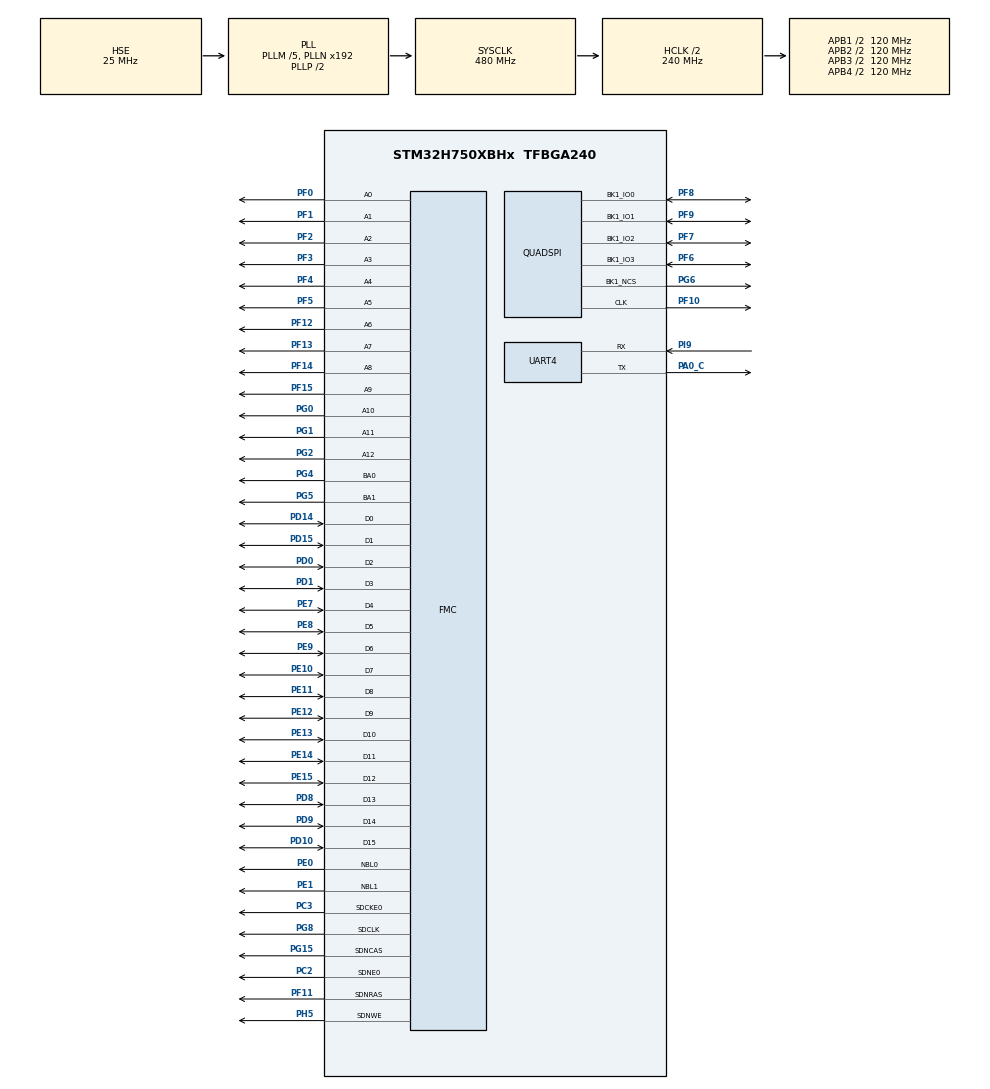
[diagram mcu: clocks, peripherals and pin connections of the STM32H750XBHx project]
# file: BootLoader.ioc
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CORTEX_M7.AccessPermission_S-Cortex_Memory_Protection_Unit_Region1_Settings_S=MPU_REGION_FULL_ACCESS
CORTEX_M7.AccessPermission_S-Cortex_Memory_Protection_Unit_Region2_Settings_S=MPU_REGION_FULL_ACCESS
CORTEX_M7.AccessPermission_S-Cortex_Memory_Protection_Unit_Region3_Settings_S=MPU_REGION_FULL_ACCESS
CORTEX_M7.AccessPermission_S-Cortex_Memory_Protection_Unit_Region4_Settings_S=MPU_REGION_FULL_ACCESS
CORTEX_M7.AccessPermission_S-Cortex_Memory_Protection_Unit_Region5_Settings_S=MPU_REGION_FULL_ACCESS
CORTEX_M7.AccessPermission_S-Cortex_Memory_Protection_Unit_Region6_Settings_S=MPU_REGION_FULL_ACCESS
CORTEX_M7.AccessPermission_S-Cortex_Memory_Protection_Unit_Region7_Settings_S=MPU_REGION_FULL_ACCESS
CORTEX_M7.AccessPermission_Spec=MPU_REGION_FULL_ACCESS
CORTEX_M7.BaseAddress_S-Cortex_Memory_Protection_Unit_Region1_Settings_S=0x24000000
CORTEX_M7.BaseAddress_S-Cortex_Memory_Protection_Unit_Region2_Settings_S=0xC0000000
CORTEX_M7.BaseAddress_S-Cortex_Memory_Protection_Unit_Region3_Settings_S=0x30000000
CORTEX_M7.BaseAddress_S-Cortex_Memory_Protection_Unit_Region4_Settings_S=0x30040000
CORTEX_M7.BaseAddress_S-Cortex_Memory_Protection_Unit_Region5_Settings_S=0x38000000
CORTEX_M7.BaseAddress_S-Cortex_Memory_Protection_Unit_Region6_Settings_S=0x38800000
CORTEX_M7.BaseAddress_S-Cortex_Memory_Protection_Unit_Region7_Settings_S=0x60000000
CORTEX_M7.BaseAddress_Spec=0x90000000
CORTEX_M7.CPU_DCache=Enabled
CORTEX_M7.CPU_ICache=Enabled
CORTEX_M7.DisableExec_Spec=MPU_INSTRUCTION_ACCESS_ENABLE
CORTEX_M7.Enable_S-Cortex_Memory_Protection_Unit_Region1_Settings_S=MPU_REGION_ENABLE
CORTEX_M7.Enable_S-Cortex_Memory_Protection_Unit_Region2_Settings_S=MPU_REGION_ENABLE
CORTEX_M7.Enable_S-Cortex_Memory_Protection_Unit_Region3_Settings_S=MPU_REGION_ENABLE
CORTEX_M7.Enable_S-Cortex_Memory_Protection_Unit_Region4_Settings_S=MPU_REGION_ENABLE
CORTEX_M7.Enable_S-Cortex_Memory_Protection_Unit_Region5_Settings_S=MPU_REGION_ENABLE
CORTEX_M7.Enable_S-Cortex_Memory_Protection_Unit_Region6_Settings_S=MPU_REGION_ENABLE
CORTEX_M7.Enable_S-Cortex_Memory_Protection_Unit_Region7_Settings_S=MPU_REGION_ENABLE
CORTEX_M7.Enable_S-Cortex_Memory_Protection_Unit_Region8_Settings_S=__NULL
CORTEX_M7.IsBufferable_S-Cortex_Memory_Protection_Unit_Region1_Settings_S=MPU_ACCESS_NOT_BUFFERABLE
CORTEX_M7.IsBufferable_S-Cortex_Memory_Protection_Unit_Region2_Settings_S=MPU_ACCESS_BUFFERABLE
CORTEX_M7.IsBufferable_S-Cortex_Memory_Protection_Unit_Region3_Settings_S=MPU_ACCESS_BUFFERABLE
CORTEX_M7.IsBufferable_S-Cortex_Memory_Protection_Unit_Region4_Settings_S=MPU_ACCESS_BUFFERABLE
CORTEX_M7.IsBufferable_S-Cortex_Memory_Protection_Unit_Region5_Settings_S=MPU_ACCESS_BUFFERABLE
CORTEX_M7.IsBufferable_S-Cortex_Memory_Protection_Unit_Region6_Settings_S=MPU_ACCESS_BUFFERABLE
CORTEX_M7.IsBufferable_S-Cortex_Memory_Protection_Unit_Region7_Settings_S=MPU_ACCESS_BUFFERABLE
CORTEX_M7.IsBufferable_Spec=MPU_ACCESS_BUFFERABLE
CORTEX_M7.IsCacheable_S-Cortex_Memory_Protection_Unit_Region1_Settings_S=MPU_ACCESS_CACHEABLE
CORTEX_M7.IsCacheable_S-Cortex_Memory_Protection_Unit_Region2_Settings_S=MPU_ACCESS_CACHEABLE
CORTEX_M7.IsCacheable_S-Cortex_Memory_Protection_Unit_Region3_Settings_S=MPU_ACCESS_CACHEABLE
CORTEX_M7.IsCacheable_S-Cortex_Memory_Protection_Unit_Region4_Settings_S=MPU_ACCESS_CACHEABLE
CORTEX_M7.IsCacheable_S-Cortex_Memory_Protection_Unit_Region5_Settings_S=MPU_ACCESS_CACHEABLE
CORTEX_M7.IsCacheable_S-Cortex_Memory_Protection_Unit_Region6_Settings_S=MPU_ACCESS_CACHEABLE
CORTEX_M7.IsCacheable_Spec=MPU_ACCESS_CACHEABLE
CORTEX_M7.IsShareable_Spec=MPU_ACCESS_NOT_SHAREABLE
CORTEX_M7.MPU_Control=MPU_HFNMI_PRIVDEF
CORTEX_M7.Size_S-Cortex_Memory_Protection_Unit_Region1_Settings_S=MPU_REGION_SIZE_512KB
CORTEX_M7.Size_S-Cortex_Memory_Protection_Unit_Region2_Settings_S=MPU_REGION_SIZE_32MB
CORTEX_M7.Size_S-Cortex_Memory_Protection_Unit_Region3_Settings_S=MPU_REGION_SIZE_256KB
CORTEX_M7.Size_S-Cortex_Memory_Protection_Unit_Region4_Settings_S=MPU_REGION_SIZE_32KB
CORTEX_M7.Size_S-Cortex_Memory_Protection_Unit_Region5_Settings_S=MPU_REGION_SIZE_64KB
CORTEX_M7.Size_S-Cortex_Memory_Protection_Unit_Region6_Settings_S=MPU_REGION_SIZE_4KB
CORTEX_M7.Size_S-Cortex_Memory_Protection_Unit_Region7_Settings_S=MPU_REGION_SIZE_64KB
CORTEX_M7.Size_Spec=MPU_REGION_SIZE_256MB
CORTEX_M7.SubRegionDisable_Spec=0x0
CORTEX_M7.TypeExtField_S-Cortex_Memory_Protection_Unit_Region1_Settings_S=MPU_TEX_LEVEL0
CORTEX_M7.TypeExtField_S-Cortex_Memory_Protection_Unit_Region2_Settings_S=MPU_TEX_LEVEL1
CORTEX_M7.TypeExtField_S-Cortex_Memory_Protection_Unit_Region3_Settings_S=MPU_TEX_LEVEL1
CORTEX_M7.TypeExtField_S-Cortex_Memory_Protection_Unit_Region4_Settings_S=MPU_TEX_LEVEL1
CORTEX_M7.TypeExtField_S-Cortex_Memory_Protection_Unit_Region5_Settings_S=MPU_TEX_LEVEL1
CORTEX_M7.TypeExtField_S-Cortex_Memory_Protection_Unit_Region6_Settings_S=MPU_TEX_LEVEL1
CORTEX_M7.TypeExtField_Spec=MPU_TEX_LEVEL1
CORTEX_M7.default_mode_Activation=1
FMC.CASLatency1=FMC_SDRAM_CAS_LATENCY_2
FMC.ColumnBitsNumber1=FMC_SDRAM_COLUMN_BITS_NUM_9
FMC.ExitSelfRefreshDelay1=8
FMC.LoadToActiveDelay1=2
FMC.RCDDelay1=2
FMC.RPDelay1=2
FMC.ReadBurst1=FMC_SDRAM_RBURST_ENABLE
FMC.ReadPipeDelay1=FMC_SDRAM_RPIPE_DELAY_0
FMC.RowCycleDelay1=6
FMC.SDClockPeriod1=FMC_SDRAM_CLOCK_PERIOD_2
FMC.SelfRefreshTime1=6
FMC.WriteRecoveryTime1=16
Mcu.Family=STM32H7
Mcu.Name=STM32H750XBHx
Mcu.Package=TFBGA240
NVIC.PriorityGroup=NVIC_PRIORITYGROUP_4
NVIC.TIM6_DAC_IRQn=true\:15\:0\:false\:false\:true\:false\:true\:true
NVIC.TimeBase=TIM6_DAC_IRQn
NVIC.TimeBaseIP=TIM6
PA0_C.Mode=Asynchronous
PA0_C.Signal=UART4_TX
PC2.Mode=SdramChipSelect1_1
PC2.Signal=FMC_SDNE0
PC3.Mode=SdramChipSelect1_1
PC3.Signal=FMC_SDCKE0
PD0.Signal=FMC_D2_DA2
PD1.Signal=FMC_D3_DA3
PD10.Signal=FMC_D15_DA15
PD14.Signal=FMC_D0_DA0
PD15.Signal=FMC_D1_DA1
PD8.Signal=FMC_D13_DA13
PD9.Signal=FMC_D14_DA14
PE0.Signal=FMC_NBL0
PE1.Signal=FMC_NBL1
PE10.Signal=FMC_D7_DA7
PE11.Signal=FMC_D8_DA8
PE12.Signal=FMC_D9_DA9
PE13.Signal=FMC_D10_DA10
PE14.Signal=FMC_D11_DA11
PE15.Signal=FMC_D12_DA12
PE7.Signal=FMC_D4_DA4
PE8.Signal=FMC_D5_DA5
PE9.Signal=FMC_D6_DA6
PF0.Signal=FMC_A0
PF1.Signal=FMC_A1
PF10.GPIO_Speed=GPIO_SPEED_FREQ_VERY_HIGH
PF10.Mode=Single Bank 1
PF10.Signal=QUADSPI_CLK
PF11.Signal=FMC_SDNRAS
PF12.Signal=FMC_A6
PF13.Signal=FMC_A7
PF14.Signal=FMC_A8
PF15.Signal=FMC_A9
PF2.Signal=FMC_A2
PF3.Signal=FMC_A3
PF4.Signal=FMC_A4
PF5.Signal=FMC_A5
PF6.GPIO_Speed=GPIO_SPEED_FREQ_VERY_HIGH
PF6.Mode=Single Bank 1
PF6.Signal=QUADSPI_BK1_IO3
PF7.GPIO_Speed=GPIO_SPEED_FREQ_VERY_HIGH
PF7.Mode=Single Bank 1
PF7.Signal=QUADSPI_BK1_IO2
PF8.GPIO_Speed=GPIO_SPEED_FREQ_VERY_HIGH
PF8.Mode=Single Bank 1
PF8.Signal=QUADSPI_BK1_IO0
PF9.GPIO_Speed=GPIO_SPEED_FREQ_VERY_HIGH
PF9.Mode=Single Bank 1
PF9.Signal=QUADSPI_BK1_IO1
PG0.Signal=FMC_A10
PG1.Signal=FMC_A11
PG15.Signal=FMC_SDNCAS
PG2.Signal=FMC_A12
PG4.Signal=FMC_A14_BA0
PG5.Signal=FMC_A15_BA1
PG6.GPIO_Speed=GPIO_SPEED_FREQ_VERY_HIGH
PG6.Mode=Single Bank 1
PG6.Signal=QUADSPI_BK1_NCS
PG8.Signal=FMC_SDCLK
PH0-OSC_IN\ (PH0).Mode=HSE-External-Oscillator
PH0-OSC_IN\ (PH0).Signal=RCC_OSC_IN
PH1-OSC_OUT\ (PH1).Mode=HSE-External-Oscillator
PH1-OSC_OUT\ (PH1).Signal=RCC_OSC_OUT
PH5.Signal=FMC_SDNWE
PI9.Mode=Asynchronous
PI9.Signal=UART4_RX
ProjectManager.HeapSize=0x200
ProjectManager.StackSize=0x400
ProjectManager.TargetToolchain=STM32CubeIDE
QUADSPI.ChipSelectHighTime=QSPI_CS_HIGH_TIME_6_CYCLE
QUADSPI.ClockMode=QSPI_CLOCK_MODE_0
QUADSPI.ClockPrescaler=1
QUADSPI.FifoThreshold=32
QUADSPI.FlashSize=24
QUADSPI.SampleShifting=QSPI_SAMPLE_SHIFTING_HALFCYCLE
RCC.ADCFreq_Value=300000000
RCC.APB1Freq_Value=120000000
RCC.APB2Freq_Value=120000000
RCC.APB3Freq_Value=120000000
RCC.APB4Freq_Value=120000000
RCC.CortexFreq_Value=480000000
RCC.D1PPRE=RCC_APB3_DIV2
RCC.D2PPRE1=RCC_APB1_DIV2
RCC.D2PPRE2=RCC_APB2_DIV2
RCC.D3PPRE=RCC_APB4_DIV2
RCC.DIVM1=5
RCC.DIVM2=5
RCC.DIVN1=192
RCC.DIVN2=120
RCC.DIVR2=3
RCC.HCLKFreq_Value=240000000
RCC.HPRE=RCC_HCLK_DIV2
RCC.PLLSourceVirtual=RCC_PLLSOURCE_HSE
RCC.PWR_Regulator_Voltage_Scale=PWR_REGULATOR_VOLTAGE_SCALE0
RCC.ProductRev=revV
RCC.SYSCLKFreq_VALUE=480000000
RCC.SYSCLKSource=RCC_SYSCLKSOURCE_PLLCLK
RCC.SupplySource=PWR_LDO_SUPPLY
RCC.USBFreq_Value=480000000
SH.FMC_A0.0=FMC_A0,13b-sda1
SH.FMC_A1.0=FMC_A1,13b-sda1
SH.FMC_A10.0=FMC_A10,13b-sda1
SH.FMC_A11.0=FMC_A11,13b-sda1
SH.FMC_A12.0=FMC_A12,13b-sda1
SH.FMC_A14_BA0.0=FMC_BA0,FourSdramBanks1
SH.FMC_A15_BA1.0=FMC_BA1,FourSdramBanks1
SH.FMC_A2.0=FMC_A2,13b-sda1
SH.FMC_A3.0=FMC_A3,13b-sda1
SH.FMC_A4.0=FMC_A4,13b-sda1
SH.FMC_A5.0=FMC_A5,13b-sda1
SH.FMC_A6.0=FMC_A6,13b-sda1
SH.FMC_A7.0=FMC_A7,13b-sda1
SH.FMC_A8.0=FMC_A8,13b-sda1
SH.FMC_A9.0=FMC_A9,13b-sda1
SH.FMC_D0_DA0.0=FMC_D0,sd-16b-d1
SH.FMC_D10_DA10.0=FMC_D10,sd-16b-d1
SH.FMC_D11_DA11.0=FMC_D11,sd-16b-d1
SH.FMC_D12_DA12.0=FMC_D12,sd-16b-d1
SH.FMC_D13_DA13.0=FMC_D13,sd-16b-d1
SH.FMC_D14_DA14.0=FMC_D14,sd-16b-d1
SH.FMC_D15_DA15.0=FMC_D15,sd-16b-d1
SH.FMC_D1_DA1.0=FMC_D1,sd-16b-d1
SH.FMC_D2_DA2.0=FMC_D2,sd-16b-d1
SH.FMC_D3_DA3.0=FMC_D3,sd-16b-d1
SH.FMC_D4_DA4.0=FMC_D4,sd-16b-d1
SH.FMC_D5_DA5.0=FMC_D5,sd-16b-d1
SH.FMC_D6_DA6.0=FMC_D6,sd-16b-d1
SH.FMC_D7_DA7.0=FMC_D7,sd-16b-d1
SH.FMC_D8_DA8.0=FMC_D8,sd-16b-d1
SH.FMC_D9_DA9.0=FMC_D9,sd-16b-d1
SH.FMC_NBL0.0=FMC_NBL0,Sd2ByteEnable1
SH.FMC_NBL1.0=FMC_NBL1,Sd2ByteEnable1
SH.FMC_SDCLK.0=FMC_SDCLK,13b-sda1
SH.FMC_SDNCAS.0=FMC_SDNCAS,13b-sda1
SH.FMC_SDNRAS.0=FMC_SDNRAS,13b-sda1
SH.FMC_SDNWE.0=FMC_SDNWE,13b-sda1
VP_SYS_VS_tim6.Mode=TIM6
board=custom

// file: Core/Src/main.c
/* USER CODE BEGIN Header */
/**
  ******************************************************************************
  * @file           : main.c
  * @brief          : Main program body
  ******************************************************************************
  * @attention
  *
  * Copyright (c) 2023 STMicroelectronics.
  * All rights reserved.
  *
  * This software is licensed under terms that can be found in the LICENSE file
  * in the root directory of this software component.
  * If no LICENSE file comes with this software, it is provided AS-IS.
  *
  ******************************************************************************
  */
/* USER CODE END Header */
#include "main.h"
#include "quadspi.h"
#include "usart.h"
#include "gpio.h"
#include "fmc.h"

/* USER CODE BEGIN Includes */
#include <stdio.h>
#include "w25qxx.h"
#include "w9825g6kh.h"
/* USER CODE END Includes */

void SystemClock_Config(void);

static void MPU_Initialize(void);

static void MPU_Config(void);

/* USER CODE BEGIN 0 */
typedef void (*pFunction)(void);
static void JumpToApp(void)
{
    uint32_t app_ddr = QSPI_BASE;
    pFunction JumpApp = (pFunction)(*(__IO uint32_t *)(app_ddr + 4));

    /* close and reset Systick */
    SysTick->CTRL = 0;					// disable systick
    SysTick->LOAD = 0;					// clear loaded value
    SysTick->VAL = 0;					// clear current systick value

    /* clear all NVIC Enable and Pending registers */
    for(uint8_t i = 0; i < 8; i++)
    {
        NVIC->ICER[i] = 0xFFFFFFFF;
        NVIC->ICPR[i] = 0xFFFFFFFF;
    }

    /* priviage mode */
    __set_CONTROL(0);

    /* disable global interrupt */
    __disable_irq();

    /* blocks all interrupts apart from the non-maskable interrupt (NMI) and the hard fault exception */
    __set_PRIMASK(1);

    __set_MSP(app_ddr);

    JumpApp();
}
/* USER CODE END 0 */

int main(void) {

    /* Enable I-Cache---------------------------------------------------------*/
    SCB_EnableICache();

    /* Enable D-Cache---------------------------------------------------------*/
    SCB_EnableDCache();

    /* MCU Configuration--------------------------------------------------------*/

    /* Reset of all peripherals, Initializes the Flash interface and the Systick. */
    HAL_Init();

    /* MPU Configuration--------------------------------------------------------*/
    MPU_Config();

    /* Configure the system clock */
    SystemClock_Config();

    /* Initialize all configured peripherals */
    MX_GPIO_Init();
    MX_QUADSPI_Init();
    MX_UART4_Init();
    MX_FMC_Init();
    /* USER CODE BEGIN 2 */
    W25QXX_Init();
    W25Q_Memory_Mapped_Enable();
    if(HAL_OK == w9825g6kh_init_sequence(&hsdram1, FMC_SDRAM_CMD_TARGET_BANK1))
        printf("Init Sdram Success.\r\n");
    else	printf("Init Sdram Failed.\r\n");
    printf("  __  ____  ___   _   ____   ___   ___ _____ \r\n");
    printf(" |  \\/  \\ \\/ / | | | | __ ) / _ \\ / _ \\_   _| \r\n");
    printf(" | |\\/| |\\  /| |_| | |  _ \\| | | | | | || | \r\n");
    printf(" | |  | |/  \\|  _  | | |_) | |_| | |_| || | \r\n");
    printf(" |_|  |_/_/\\_\\_| |_| |____/ \\___/ \\___/ |_| \r\n");
    printf(" BootLoader Powered by MXH.\r\n");

    JumpToApp();
    /* USER CODE END 2 */

    /* Infinite loop */
    while (1) {

    }
}

void SystemClock_Config(void) {
    RCC_OscInitTypeDef RCC_OscInitStruct = {0};
    RCC_ClkInitTypeDef RCC_ClkInitStruct = {0};

    /** Supply configuration update enable
    */
    HAL_PWREx_ConfigSupply(PWR_LDO_SUPPLY);

    /** Configure the main internal regulator output voltage
    */
    __HAL_PWR_VOLTAGESCALING_CONFIG(PWR_REGULATOR_VOLTAGE_SCALE1);

    while (!__HAL_PWR_GET_FLAG(PWR_FLAG_VOSRDY)) {}

    __HAL_RCC_SYSCFG_CLK_ENABLE();
    __HAL_PWR_VOLTAGESCALING_CONFIG(PWR_REGULATOR_VOLTAGE_SCALE0);

    while (!__HAL_PWR_GET_FLAG(PWR_FLAG_VOSRDY)) {}

    /** Initializes the RCC Oscillators according to the specified parameters
    * in the RCC_OscInitTypeDef structure.
    */
    RCC_OscInitStruct.OscillatorType = RCC_OSCILLATORTYPE_HSE;
    RCC_OscInitStruct.HSEState = RCC_HSE_ON;
    RCC_OscInitStruct.PLL.PLLState = RCC_PLL_ON;
    RCC_OscInitStruct.PLL.PLLSource = RCC_PLLSOURCE_HSE;
    RCC_OscInitStruct.PLL.PLLM = 5;
    RCC_OscInitStruct.PLL.PLLN = 192;
    RCC_OscInitStruct.PLL.PLLP = 2;
    RCC_OscInitStruct.PLL.PLLQ = 2;
    RCC_OscInitStruct.PLL.PLLR = 2;
    RCC_OscInitStruct.PLL.PLLRGE = RCC_PLL1VCIRANGE_2;
    RCC_OscInitStruct.PLL.PLLVCOSEL = RCC_PLL1VCOWIDE;
    RCC_OscInitStruct.PLL.PLLFRACN = 0;
    if (HAL_RCC_OscConfig(&RCC_OscInitStruct) != HAL_OK) {
        Error_Handler();
    }

    /** Initializes the CPU, AHB and APB buses clocks
    */
    RCC_ClkInitStruct.ClockType = RCC_CLOCKTYPE_HCLK | RCC_CLOCKTYPE_SYSCLK
                                  | RCC_CLOCKTYPE_PCLK1 | RCC_CLOCKTYPE_PCLK2
                                  | RCC_CLOCKTYPE_D3PCLK1 | RCC_CLOCKTYPE_D1PCLK1;
    RCC_ClkInitStruct.SYSCLKSource = RCC_SYSCLKSOURCE_PLLCLK;
    RCC_ClkInitStruct.SYSCLKDivider = RCC_SYSCLK_DIV1;
    RCC_ClkInitStruct.AHBCLKDivider = RCC_HCLK_DIV2;
    RCC_ClkInitStruct.APB3CLKDivider = RCC_APB3_DIV2;
    RCC_ClkInitStruct.APB1CLKDivider = RCC_APB1_DIV2;
    RCC_ClkInitStruct.APB2CLKDivider = RCC_APB2_DIV2;
    RCC_ClkInitStruct.APB4CLKDivider = RCC_APB4_DIV2;

    if (HAL_RCC_ClockConfig(&RCC_ClkInitStruct, FLASH_LATENCY_4) != HAL_OK) {
        Error_Handler();
    }
}

/* USER CODE BEGIN 4 */
/* ------------------通过重定向将printf函数映射到串口4-------------------*/
#if !defined(__MICROLIB)

//#pragma import(__use_no_semihosting)
__asm (".global __use_no_semihosting\n\t");

/* 避免使用半主机模式 */
void _sys_exit(int x)
{
    x = x;
}

/* __use_no_semihosting was requested, but _ttywrch was */
void _ttywrch(int ch)
{
    ch = ch;
}
struct __FILE
{
  int handle;
};
FILE __stdout;

#endif

#if defined ( __GNUC__ ) && !defined (__clang__)
#define PUTCHAR_PROTOTYPE int __io_putchar(int ch)
#else
#define PUTCHAR_PROTOTYPE int fputc(int ch, FILE *f)
#endif
PUTCHAR_PROTOTYPE
{
	/* 实现串口发送一个字节数据的函数 */
    HAL_UART_Transmit(&huart4, (uint8_t *)&ch, 1, 1000);
    return ch;
}
/* USER CODE END 4 */

/* MPU Configuration */

void MPU_Config(void) {
    MPU_Region_InitTypeDef MPU_InitStruct = {0};

    /* Disables the MPU */
    HAL_MPU_Disable();

    /** Initializes and configures the Region and the memory to be protected
    */
    MPU_InitStruct.Enable = MPU_REGION_ENABLE;
    MPU_InitStruct.Number = MPU_REGION_NUMBER0;
    MPU_InitStruct.BaseAddress = 0x90000000;
    MPU_InitStruct.Size = MPU_REGION_SIZE_256MB;
    MPU_InitStruct.SubRegionDisable = 0x0;
    MPU_InitStruct.TypeExtField = MPU_TEX_LEVEL1;
    MPU_InitStruct.AccessPermission = MPU_REGION_FULL_ACCESS;
    MPU_InitStruct.DisableExec = MPU_INSTRUCTION_ACCESS_ENABLE;
    MPU_InitStruct.IsShareable = MPU_ACCESS_NOT_SHAREABLE;
    MPU_InitStruct.IsCacheable = MPU_ACCESS_CACHEABLE;
    MPU_InitStruct.IsBufferable = MPU_ACCESS_BUFFERABLE;

    HAL_MPU_ConfigRegion(&MPU_InitStruct);

    /** Initializes and configures the Region and the memory to be protected
    */
    MPU_InitStruct.Number = MPU_REGION_NUMBER1;
    MPU_InitStruct.BaseAddress = 0x24000000;
    MPU_InitStruct.Size = MPU_REGION_SIZE_512KB;
    MPU_InitStruct.TypeExtField = MPU_TEX_LEVEL0;
    MPU_InitStruct.IsBufferable = MPU_ACCESS_NOT_BUFFERABLE;

    HAL_MPU_ConfigRegion(&MPU_InitStruct);

    /** Initializes and configures the Region and the memory to be protected
    */
    MPU_InitStruct.Number = MPU_REGION_NUMBER2;
    MPU_InitStruct.BaseAddress = 0xC0000000;
    MPU_InitStruct.Size = MPU_REGION_SIZE_32MB;
    MPU_InitStruct.TypeExtField = MPU_TEX_LEVEL1;
    MPU_InitStruct.IsBufferable = MPU_ACCESS_BUFFERABLE;

    HAL_MPU_ConfigRegion(&MPU_InitStruct);

    /** Initializes and configures the Region and the memory to be protected
    */
    MPU_InitStruct.Number = MPU_REGION_NUMBER3;
    MPU_InitStruct.BaseAddress = 0x30000000;
    MPU_InitStruct.Size = MPU_REGION_SIZE_256KB;

    HAL_MPU_ConfigRegion(&MPU_InitStruct);

    /** Initializes and configures the Region and the memory to be protected
    */
    MPU_InitStruct.Number = MPU_REGION_NUMBER4;
    MPU_InitStruct.BaseAddress = 0x30040000;
    MPU_InitStruct.Size = MPU_REGION_SIZE_32KB;

    HAL_MPU_ConfigRegion(&MPU_InitStruct);

    /** Initializes and configures the Region and the memory to be protected
    */
    MPU_InitStruct.Number = MPU_REGION_NUMBER5;
    MPU_InitStruct.BaseAddress = 0x38000000;
    MPU_InitStruct.Size = MPU_REGION_SIZE_64KB;

    HAL_MPU_ConfigRegion(&MPU_InitStruct);

    /** Initializes and configures the Region and the memory to be protected
    */
    MPU_InitStruct.Number = MPU_REGION_NUMBER6;
    MPU_InitStruct.BaseAddress = 0x38800000;
    MPU_InitStruct.Size = MPU_REGION_SIZE_4KB;

    HAL_MPU_ConfigRegion(&MPU_InitStruct);

    /** Initializes and configures the Region and the memory to be protected
    */
    MPU_InitStruct.Number = MPU_REGION_NUMBER7;
    MPU_InitStruct.BaseAddress = 0x60000000;
    MPU_InitStruct.Size = MPU_REGION_SIZE_64KB;
    MPU_InitStruct.TypeExtField = MPU_TEX_LEVEL0;
    MPU_InitStruct.IsCacheable = MPU_ACCESS_NOT_CACHEABLE;

    HAL_MPU_ConfigRegion(&MPU_InitStruct);
    /* Enables the MPU */
    HAL_MPU_Enable(MPU_HFNMI_PRIVDEF);

}

void HAL_TIM_PeriodElapsedCallback(TIM_HandleTypeDef *htim) {
    if (htim->Instance == TIM6) {
        HAL_IncTick();
    }
}

void Error_Handler(void) {
    __disable_irq();
    while (1) {
    }
}
